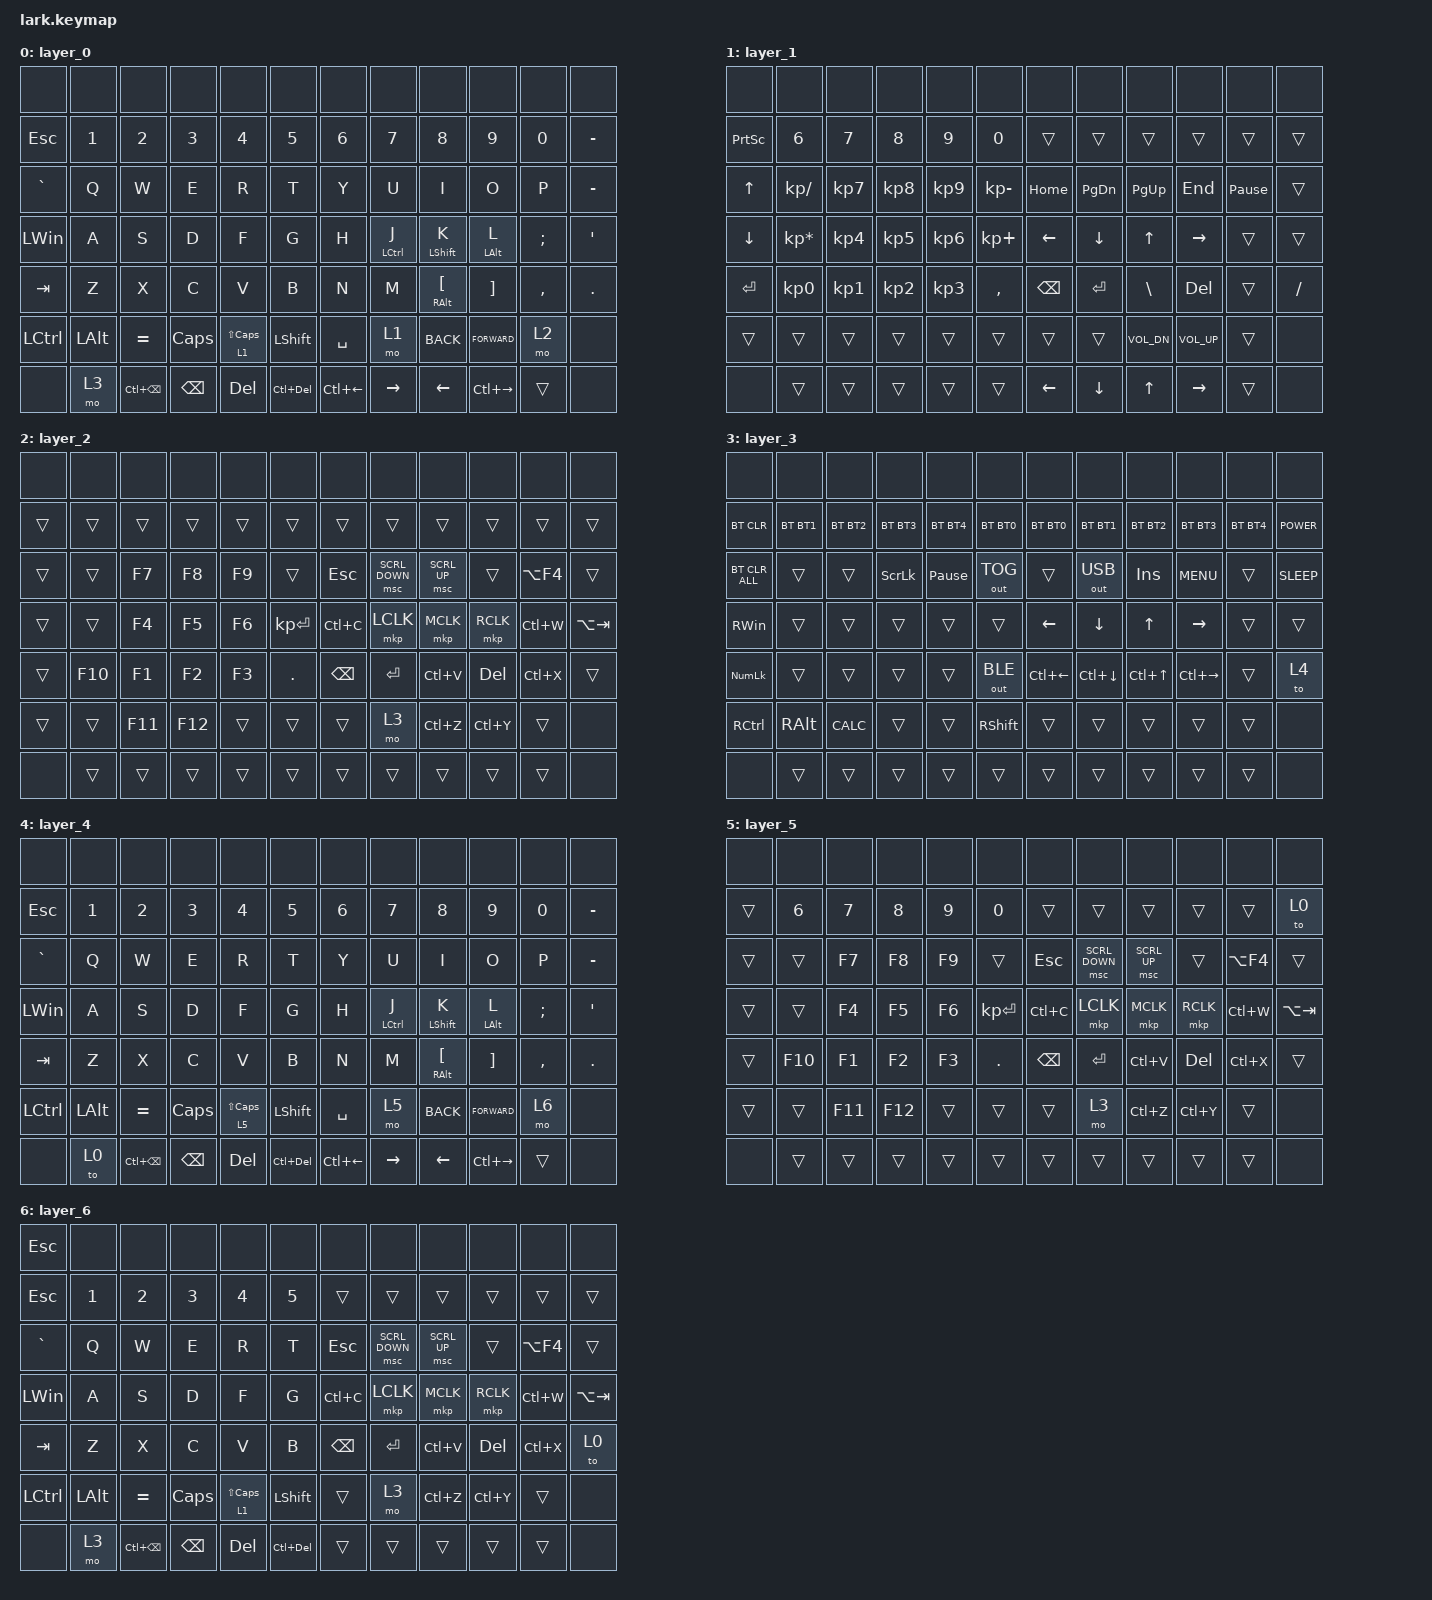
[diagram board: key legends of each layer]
#include <behaviors.dtsi>
#include <dt-bindings/zmk/bt.h>
#include <dt-bindings/zmk/keys.h>
#include <dt-bindings/zmk/outputs.h>

#define ZMK_POINTING_DEFAULT_MOVE_VAL 600  // default: 600
#define ZMK_POINTING_DEFAULT_SCRL_VAL 20    // default: 10     if CONFIG_ZMK_POINTING_SMOOTH_SCROLLING=y default 300

#include <dt-bindings/zmk/pointing.h>

// Desktop and tab navigation shortcuts		

#define DESKTOP_LT   LC(LG(LEFT))
#define DESKTOP_RT   LC(LG(RIGHT))
#define WINDOW_LT    LA(LS(TAB))
#define WINDOW_RT    LA(TAB)
#define TAB_LT       LC(LS(TAB))
#define TAB_RT       LC(TAB)

// NOT USED  &kp LG(LC(LEFT))  &kp LG(LC(RIGHT))
// Generic bindings

#define KILL_WINDOW  LA(F4)
#define MAXIMIZE     LG(UP)
#define MINIMIZE     LG(DOWN)
#define UN_MINIMIZE  LG(LC(N))

// Short versions
#define BT0         BT_SEL 0
#define BT1         BT_SEL 1
#define BT2         BT_SEL 2
#define BT3         BT_SEL 3
#define BT4         BT_SEL 4
#define PAUSE       PAUSE_BREAK
#define VU          C_VOL_UP
#define VD          C_VOL_DN

// MOUSE SCROLL SETTINGS
// https://zmk.dev/docs/keymaps/behaviors/mouse-emulation#mouse-scroll


&mt {
    flavor = "tap-preferred";
    tapping-term-ms = <300>;
};

&lt {
    flavor = "balanced";
    tapping-term-ms = <150>;
};


/ {

    conditional_layers {
        compatible = "zmk,conditional-layers";
    };

    keymap {
            compatible = "zmk,keymap";

        layer_0 {
            bindings = <
&none         &none            &none        &none         &none         &none                 &none         &none              &none           &none             &none           &none 
&kp ESC       &kp N1           &kp N2       &kp N3        &kp N4        &kp N5                &kp N6        &kp N7             &kp N8          &kp N9            &kp N0          &kp MINUS
&kp GRAVE     &kp Q            &kp W        &kp E         &kp R         &kp T                 &kp Y         &kp U              &kp I           &kp O             &kp P           &kp MINUS
&kp LWIN      &kp A            &kp S        &kp D         &kp F         &kp G                 &kp H      &mt LCTRL J        &mt LSHIFT K     &mt LALT L          &kp SEMI        &kp SQT
&kp TAB       &kp Z            &kp X        &kp C         &kp V         &kp B                 &kp N         &kp M           &mt RALT LBKT      &kp RBKT          &kp COMMA       &kp DOT
&kp LCTRL     &kp LALT         &kp EQUAL   &kp CAPS      &lt 1 LS(CAPS) &kp LSHIFT            &kp SPACE     &mo 1              &kp K_BACK      &kp K_FORWARD     &mo 2           &none 
&none         &mo 3            &kp LC(BSPC) &kp BSPC      &kp DEL       &kp LC(DEL)           &kp LC(LEFT)  &kp RIGHT          &kp LEFT       &kp LC(RIGHT)     &trans          &none 
            >;
        };

        layer_1 {
            bindings = <
&none         &none            &none        &none         &none         &none                 &none         &none              &none           &none             &none           &none 
&kp PSCRN     &kp N6           &kp N7       &kp N8        &kp N9        &kp N0                &trans        &trans             &trans          &trans            &trans          &trans
&kp UP        &kp KP_DIVIDE    &kp KP_N7    &kp KP_N8     &kp KP_N9     &kp KP_MINUS          &kp HOME      &kp PG_DN          &kp PG_UP       &kp END           &kp PAUSE       &trans
&kp DOWN      &kp KP_MULTIPLY  &kp KP_N4    &kp KP_N5     &kp KP_N6     &kp KP_PLUS           &kp LEFT      &kp DOWN           &kp UP          &kp RIGHT         &trans          &trans
&kp ENTER     &kp KP_N0        &kp KP_N1    &kp KP_N2     &kp KP_N3     &kp COMMA             &kp BSPC      &kp ENTER          &kp BSLH        &kp DEL           &trans          &kp SLASH
&trans        &trans           &trans       &trans        &trans        &trans                &trans        &trans             &kp VD          &kp VU            &trans          &none 
&none         &trans           &trans       &trans        &trans        &trans                &kp LEFT      &kp DOWN           &kp UP          &kp RIGHT         &trans          &none 
            >;
        };

        layer_2 {
            bindings = <
&none         &none            &none        &none         &none         &none                 &none         &none              &none           &none             &none           &none 
&trans        &trans           &trans       &trans        &trans        &trans                &trans        &trans             &trans          &trans            &trans          &trans
&trans        &trans           &kp F7       &kp F8        &kp F9        &trans                &kp ESC     &msc SCRL_DOWN     &msc SCRL_UP      &trans            &kp LA(F4)      &trans
&trans        &trans           &kp F4       &kp F5        &kp F6        &kp KP_ENTER          &kp LC(C)   &mkp LCLK          &mkp MCLK       &mkp RCLK           &kp LC(W)       &kp LA(TAB)
&trans        &kp F10          &kp F1       &kp F2        &kp F3        &kp DOT               &kp BSPC      &kp ENTER          &kp LC(V)       &kp DEL           &kp LC(X)       &trans
&trans        &trans           &kp F11      &kp F12       &trans        &trans                &trans        &mo 3              &kp LC(Z)       &kp LC(Y)         &trans          &none 
&none         &trans           &trans       &trans        &trans        &trans                &trans        &trans             &trans          &trans            &trans          &none 
            >;
        };

        layer_3 {
            bindings = <
&none         &none            &none        &none         &none         &none                 &none         &none              &none           &none             &none           &none 
&bt BT_CLR     &bt BT1         &bt BT2      &bt BT3       &bt BT4       &bt BT0               &bt BT0       &bt BT1            &bt BT2         &bt BT3           &bt BT4         &kp K_POWER
&bt BT_CLR_ALL &trans          &trans       &kp SLCK      &kp PAUSE     &out OUT_TOG          &trans        &out OUT_USB       &kp INSERT      &kp K_MENU        &trans          &kp K_SLEEP
&kp RWIN       &trans          &trans       &trans        &trans        &trans                &kp LEFT      &kp DOWN           &kp UP          &kp RIGHT         &trans          &trans
&kp KP_NUM     &trans          &trans       &trans        &trans        &out OUT_BLE          &kp LC(LEFT)  &kp LC(DOWN)       &kp LC(UP)      &kp LC(RIGHT)     &trans          &to  4
&kp RCTRL      &kp RALT        &kp K_CALC   &trans        &trans        &kp RSHIFT            &trans        &trans             &trans          &trans            &trans          &none 
&none          &trans          &trans       &trans        &trans        &trans                &trans        &trans             &trans          &trans            &trans          &none 
            >;
        };



        layer_4 {
            bindings = <
&none         &none            &none        &none         &none         &none                 &none         &none              &none           &none             &none           &none 
&kp ESC       &kp N1           &kp N2       &kp N3        &kp N4        &kp N5                &kp N6        &kp N7             &kp N8          &kp N9            &kp N0          &kp MINUS
&kp GRAVE     &kp Q            &kp W        &kp E         &kp R         &kp T                 &kp Y         &kp U              &kp I           &kp O             &kp P           &kp MINUS
&kp LWIN      &kp A            &kp S        &kp D         &kp F         &kp G                 &kp H      &mt LCTRL J        &mt LSHIFT K     &mt LALT L          &kp SEMI        &kp SQT
&kp TAB       &kp Z            &kp X        &kp C         &kp V         &kp B                 &kp N         &kp M           &mt RALT LBKT      &kp RBKT          &kp COMMA       &kp DOT
&kp LCTRL     &kp LALT         &kp EQUAL   &kp CAPS      &lt 5 LS(CAPS) &kp LSHIFT            &kp SPACE     &mo 5              &kp K_BACK      &kp K_FORWARD     &mo 6           &none 
&none         &to 0            &kp LC(BSPC) &kp BSPC      &kp DEL       &kp LC(DEL)           &kp LC(LEFT)  &kp RIGHT          &kp LEFT        &kp LC(RIGHT)     &trans          &none 
            >;
        };

        layer_5 {
            bindings = <
&none         &none            &none        &none         &none         &none                 &none         &none              &none           &none             &none           &none 
&trans        &kp N6           &kp N7       &kp N8        &kp N9        &kp N0                &trans        &trans             &trans          &trans            &trans          &to 0
&trans        &trans           &kp F7       &kp F8        &kp F9        &trans                &kp ESC     &msc SCRL_DOWN     &msc SCRL_UP      &trans            &kp LA(F4)      &trans
&trans        &trans           &kp F4       &kp F5        &kp F6        &kp KP_ENTER          &kp LC(C)   &mkp LCLK          &mkp MCLK       &mkp RCLK           &kp LC(W)       &kp LA(TAB)
&trans        &kp F10          &kp F1       &kp F2        &kp F3        &kp DOT               &kp BSPC      &kp ENTER          &kp LC(V)       &kp DEL           &kp LC(X)       &trans
&trans        &trans           &kp F11      &kp F12       &trans        &trans                &trans        &mo 3              &kp LC(Z)       &kp LC(Y)         &trans          &none 
&none         &trans           &trans       &trans        &trans        &trans                &trans        &trans             &trans          &trans            &trans          &none 
            >;
        };

        layer_6 {
            bindings = <
&kp ESC         &none            &none        &none         &none         &none                 &none         &none              &none           &none             &none           &none 
&kp ESC       &kp N1           &kp N2       &kp N3        &kp N4        &kp N5                &trans        &trans             &trans          &trans            &trans          &trans
&kp GRAVE     &kp Q            &kp W        &kp E         &kp R         &kp T                 &kp ESC     &msc SCRL_DOWN     &msc SCRL_UP      &trans            &kp LA(F4)      &trans
&kp LWIN      &kp A            &kp S        &kp D         &kp F         &kp G                 &kp LC(C)   &mkp LCLK          &mkp MCLK       &mkp RCLK           &kp LC(W)       &kp LA(TAB)
&kp TAB       &kp Z            &kp X        &kp C         &kp V         &kp B                 &kp BSPC      &kp ENTER          &kp LC(V)       &kp DEL           &kp LC(X)       &to 0
&kp LCTRL     &kp LALT         &kp EQUAL   &kp CAPS      &lt 1 LS(CAPS) &kp LSHIFT            &trans        &mo 3              &kp LC(Z)       &kp LC(Y)         &trans          &none 
&none         &mo 3            &kp LC(BSPC) &kp BSPC      &kp DEL       &kp LC(DEL)           &trans        &trans             &trans          &trans            &trans          &none 
            >;
        };
    };
};
